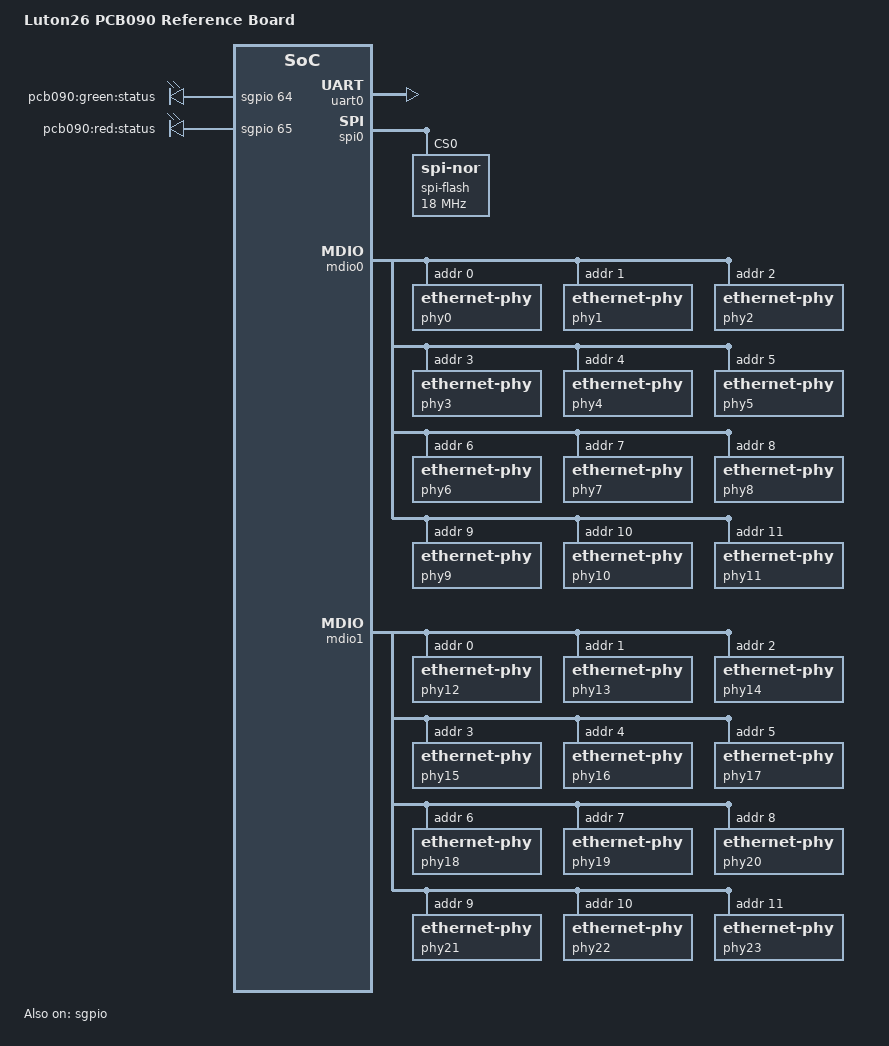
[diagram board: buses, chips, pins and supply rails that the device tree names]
// SPDX-License-Identifier: (GPL-2.0+ OR MIT)
/*
 * Copyright (c) 2018 Microsemi Corporation
 */

/dts-v1/;
#include "mscc,luton.dtsi"
#include <dt-bindings/mscc/luton_data.h>

/ {
	model = "Luton26 PCB090 Reference Board";
	compatible = "mscc,luton-pcb090", "mscc,luton";

	aliases {
		serial0 = &uart0;
		spi0 = &spi0;
	};

	chosen {
		stdout-path = "serial0:115200n8";
	};

	gpio-leds {
		compatible = "gpio-leds";

		status_green {
			label = "pcb090:green:status";
			gpios = <&sgpio 64 GPIO_ACTIVE_HIGH>; /* p0.2 */
			default-state = "on";
		};

		status_red {
			label = "pcb090:red:status";
			gpios = <&sgpio 65 GPIO_ACTIVE_HIGH>; /* p1.2 */
			default-state = "off";
		};
	};
};

&sgpio {
	status = "okay";
	gpio-ranges = <&sgpio 0 0 96>;
};

&uart0 {
	status = "okay";
};

&spi0 {
	status = "okay";
	spi-flash@0 {
		compatible = "jedec,spi-nor";
		spi-max-frequency = <18000000>; /* input clock */
		reg = <0>; /* CS0 */
		spi-cs-high;
	};
};

&mdio0 {
	status = "okay";

	phy0: ethernet-phy@0 {
		reg = <0>;
	};
	phy1: ethernet-phy@1 {
		reg = <1>;
	};
	phy2: ethernet-phy@2 {
		reg = <2>;
	};
	phy3: ethernet-phy@3 {
		reg = <3>;
	};
	phy4: ethernet-phy@4 {
		reg = <4>;
	};
	phy5: ethernet-phy@5 {
		reg = <5>;
	};
	phy6: ethernet-phy@6 {
		reg = <6>;
	};
	phy7: ethernet-phy@7 {
		reg = <7>;
	};
	phy8: ethernet-phy@8 {
		reg = <8>;
	};
	phy9: ethernet-phy@9 {
		reg = <9>;
	};
	phy10: ethernet-phy@10 {
		reg = <10>;
	};
	phy11: ethernet-phy@11 {
		reg = <11>;
	};
};

&mdio1 {
	status = "okay";

	phy12: ethernet-phy@12 {
		reg = <0>;
	};
	phy13: ethernet-phy@13 {
		reg = <1>;
	};
	phy14: ethernet-phy@14 {
		reg = <2>;
	};
	phy15: ethernet-phy@15 {
		reg = <3>;
	};
	phy16: ethernet-phy@16 {
		reg = <4>;
	};
	phy17: ethernet-phy@17 {
		reg = <5>;
	};
	phy18: ethernet-phy@18 {
		reg = <6>;
	};
	phy19: ethernet-phy@19 {
		reg = <7>;
	};
	phy20: ethernet-phy@20 {
		reg = <8>;
	};
	phy21: ethernet-phy@21 {
		reg = <9>;
	};
	phy22: ethernet-phy@22 {
		reg = <10>;
	};
	phy23: ethernet-phy@23 {
		reg = <11>;
	};
};

&switch {
	ethernet-ports {
		port0: port@0 {
			reg = <0>;
			phy-handle = <&phy0>;
		};
		port1: port@1 {
			reg = <1>;
			phy-handle = <&phy1>;
		};
		port2: port@2 {
			reg = <2>;
			phy-handle = <&phy2>;
		};
		port3: port@3 {
			reg = <3>;
			phy-handle = <&phy3>;
		};
		port4: port@4 {
			reg = <4>;
			phy-handle = <&phy4>;
		};
		port5: port@5 {
			reg = <5>;
			phy-handle = <&phy5>;
		};
		port6: port@6 {
			reg = <6>;
			phy-handle = <&phy6>;
		};
		port7: port@7 {
			reg = <7>;
			phy-handle = <&phy7>;
		};
		port8: port@8 {
			reg = <8>;
			phy-handle = <&phy8>;
		};
		port9: port@9 {
			reg = <9>;
			phy-handle = <&phy9>;
		};
		port10: port@10 {
			reg = <10>;
			phy-handle = <&phy10>;
		};
		port11: port@11 {
			reg = <11>;
			phy-handle = <&phy11>;
		};
		port12: port@12 {
			reg = <12>;
			phy-handle = <&phy12>;
			phys = <&serdes_hsio 12 SERDES6G(1) PHY_MODE_QSGMII>;
		};
		port13: port@13 {
			reg = <13>;
			phy-handle = <&phy13>;
			phys = <&serdes_hsio 13 0xff PHY_MODE_QSGMII>;
		};
		port14: port@14 {
			reg = <14>;
			phy-handle = <&phy14>;
			phys = <&serdes_hsio 14 0xff PHY_MODE_QSGMII>;
		};
		port15: port@15 {
			reg = <15>;
			phy-handle = <&phy15>;
			phys = <&serdes_hsio 15 0xff PHY_MODE_QSGMII>;
		};
		port16: port@16 {
			reg = <16>;
			phy-handle = <&phy16>;
			phys = <&serdes_hsio 16 SERDES6G(2) PHY_MODE_QSGMII>;
		};
		port17: port@17 {
			reg = <17>;
			phy-handle = <&phy17>;
			phys = <&serdes_hsio 17 0xff PHY_MODE_QSGMII>;
		};
		port18: port@18 {
			reg = <18>;
			phy-handle = <&phy18>;
			phys = <&serdes_hsio 18 0xff PHY_MODE_QSGMII>;
		};
		port19: port@19 {
			reg = <19>;
			phy-handle = <&phy19>;
			phys = <&serdes_hsio 19 0xff PHY_MODE_QSGMII>;
		};
		port20: port@20 {
			reg = <20>;
			phy-handle = <&phy20>;
			phys = <&serdes_hsio 20 SERDES6G(3) PHY_MODE_QSGMII>;
		};
		port21: port@21 {
			reg = <21>;
			phy-handle = <&phy21>;
			phys = <&serdes_hsio 21 0xff PHY_MODE_QSGMII>;
		};
		port22: port@22 {
			reg = <22>;
			phy-handle = <&phy22>;
			phys = <&serdes_hsio 22 0xff PHY_MODE_QSGMII>;
		};
		port23: port@23 {
			reg = <23>;
			phy-handle = <&phy23>;
			phys = <&serdes_hsio 23 0xff PHY_MODE_QSGMII>;
		};
	};
};
